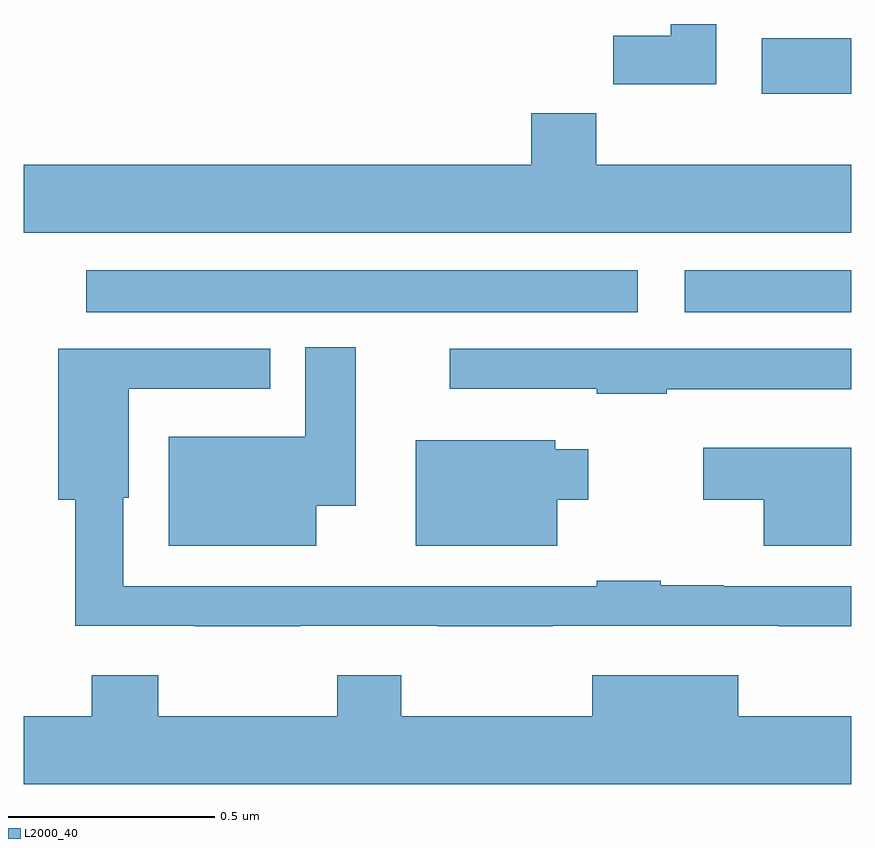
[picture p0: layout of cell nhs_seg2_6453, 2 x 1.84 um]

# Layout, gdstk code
import gdstk
lib = gdstk.Library(unit=1e-6, precision=1e-09)
def R(c, l, rs):  # rectangles x0, y0, x1, y1
    for r in rs: c.add(gdstk.rectangle(r[:2], r[2:], *l))
def P(c, l, *ps):  # polygons
    for p in ps: c.add(gdstk.Polygon(p, *l))
L2000_40 = (2000, 40)

nhs_seg2_6453 = lib.new_cell('nhs_seg2_6453')
R(nhs_seg2_6453, L2000_40, [(191.151,654.104,192.484,654.205), (192.597,654.104,193,654.205), (192.783,654.632,193,654.766)])
P(nhs_seg2_6453, L2000_40, [(192.673,654.8),(192.563,654.8),(192.563,654.772),(192.424,654.772),(192.424,654.654),(192.673,654.654)],
  [(193,654.46),(192.383,654.46),(192.383,654.584),(192.227,654.584),(192.227,654.46),(191,654.46),(191,654.296),(193,654.296)],
  [(191.707,653.636),(191.803,653.636),(191.803,654.019),(191.681,654.019),(191.681,653.803),(191.351,653.803),(191.351,653.54),(191.707,653.54)],
  [(191.669,653.346),(192.001,653.346),(192.001,653.345),(192.278,653.345),(192.278,653.346),(192.823,653.346),(192.823,653.345),(193,653.345),(193,653.442),(192.692,653.442),(192.692,653.444),(192.539,653.444),(192.539,653.455),(192.385,653.455),(192.385,653.442),(191.241,653.442),(191.241,653.655),(191.254,653.655),(191.254,653.919),(191.596,653.919),(191.596,654.015),(191.084,654.015),(191.084,653.651),(191.125,653.651),(191.125,653.346),(191.413,653.346),(191.413,653.345),(191.669,653.345)],
  [(192.554,653.918),(193,653.918),(193,654.015),(192.03,654.015),(192.03,653.919),(192.385,653.919),(192.385,653.907),(192.554,653.907)],
  [(192.289,653.651),(192.364,653.651),(192.364,653.773),(192.285,653.773),(192.285,653.794),(191.948,653.794),(191.948,653.54),(192.289,653.54)],
  [(193,653.776),(192.642,653.776),(192.642,653.651),(192.788,653.651),(192.788,653.54),(193,653.54)],
  [(193,653.128),(192.727,653.128),(192.727,653.227),(192.374,653.227),(192.374,653.128),(191.913,653.128),(191.913,653.227),(191.758,653.227),(191.758,653.128),(191.325,653.128),(191.325,653.227),(191.165,653.227),(191.165,653.128),(191,653.128),(191,652.964),(193,652.964)])

lib.write_gds('nhs_seg2_6453.gds')
